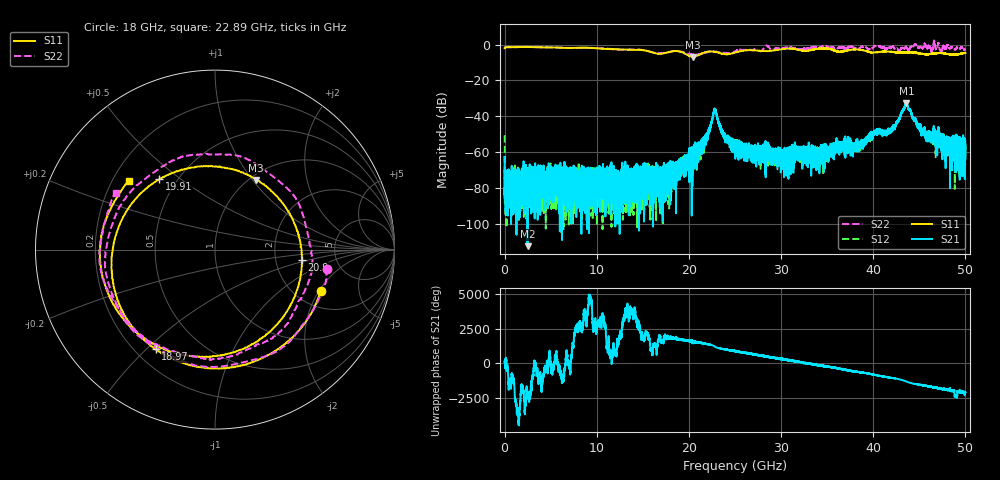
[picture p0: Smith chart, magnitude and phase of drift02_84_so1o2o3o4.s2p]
!Created with skrf (http://scikit-rf.org).
# Hz S RI R 50.0
!freq ReS11 ImS11 ReS21 ImS21 ReS12 ImS12 ReS22 ImS22
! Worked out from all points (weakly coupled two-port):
!   10001 points, 300 kHz to 50 GHz, reference 50 ohm
!   highest |S21| = -32.69 dB at 43.61 GHz (marker M1); lowest = -112.5 dB at 2.485 GHz (marker M2)
!   lowest |S11| = -6.9 dB at 20.4 GHz (marker M3), VSWR 2.64, Z = 53.5 + j52.2 ohm
!   |S11| at or under -10 dB: nowhere
!   |S22| runs from -5.7 to 2.3 dB; largest |S21 - S12| = 0.0039
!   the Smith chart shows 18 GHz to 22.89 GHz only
!   S11 on the Smith chart (normalised r, x): 18 GHz: 2.69, -2.08; 18.97 GHz: 0.28, -0.53; 19.91 GHz: 0.40, +0.42; 20.9 GHz: 2.83, -0.41; 22.89 GHz: 0.27, +0.33
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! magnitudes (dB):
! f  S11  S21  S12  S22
! 300 kHz  -2.1  -62.7  -50.7  -2.1
! 285.3 MHz  -1.4  -73.0  -88.1  -1.4
! 2.485 GHz  -1.4  -112.5  -85.5  -1.3
! 8.335 GHz  -1.7  -105.6  -79.6  -1.9
! 16.67 GHz  -5.2  -77.6  -74.4  -4.7
! 18 GHz  -4.0  -67.1  -73.8  -4.0
! 18.97 GHz  -3.8  -65.0  -71.4  -3.9
! 19.91 GHz  -6.0  -63.9  -63.6  -5.2
! 20.4 GHz  -6.9  -60.7  -63.9  -5.4
! 20.9 GHz  -6.2  -58.1  -61.8  -5.6
! 21.88 GHz  -4.2  -54.3  -51.2  -4.2
! 22.89 GHz  -4.2  -36.8  -36.4  -3.9
! 23.75 GHz  -5.3  -51.2  -50.2  -4.6
! 25 GHz  -4.4  -59.5  -57.1  -3.9
! 29.63 GHz  -2.9  -62.8  -61.4  -2.1
! 33.34 GHz  -3.0  -58.4  -62.3  -1.5
! 37.9 GHz  -2.8  -55.9  -58.2  -1.8
! 41.67 GHz  -4.0  -47.8  -48.1  -1.9
! 43.61 GHz  -4.5  -32.7  -33.8  -1.3
! 45.86 GHz  -5.4  -51.8  -52.3  -2.4
! 49.6 GHz  -5.0  -69.8  -62.7  -1.6
! 50 GHz  -4.7  -56.0  -57.1  -2.7
